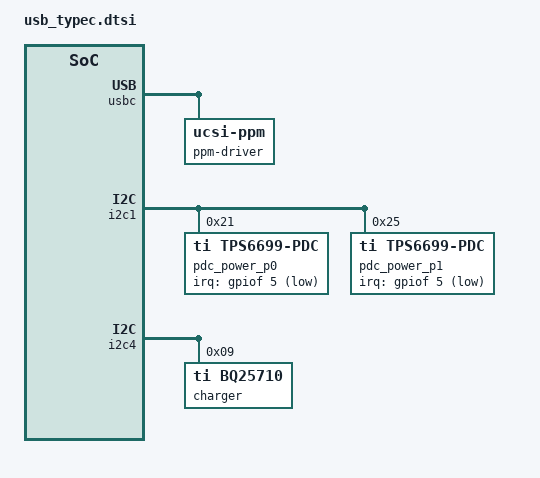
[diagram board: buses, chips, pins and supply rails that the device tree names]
/* Copyright 2025 The ChromiumOS Authors
 * Use of this source code is governed by a BSD-style license that can be
 * found in the LICENSE file.
 */

#include <usbc-policy.dtsi>

/ {
	usbc {
		#address-cells = <1>;
		#size-cells = <0>;

		usbc_port0: port0@0 {
			compatible = "named-usbc-port";
			reg = <0>;
			chg = <&charger>;
			pdc = <&pdc_power_p0>;
			pd-retimer;
			policy = <&cros_policy>;
		};
		usbc_port1: port1@1 {
			compatible = "named-usbc-port";
			reg = <1>;
			pdc = <&pdc_power_p1>;
			pd-retimer;
			policy = <&cros_policy>;
		};
		ppm-driver {
			compatible = "ucsi-ppm";
		};
	};
};

&i2c1 {
	pdc_power_p0: tps6699-pdc@21 {
		compatible = "ti,tps6699-pdc";
		reg = <0x21>;
		irq-gpios = <&gpiof 5 GPIO_ACTIVE_LOW>;
	};
	pdc_power_p1: tps6699-pdc@25 {
		compatible = "ti,tps6699-pdc";
		reg = <0x25>;
		irq-gpios = <&gpiof 5 GPIO_ACTIVE_LOW>;
		no-fw-update;
	};
};

&i2c4 {
	charger: bq25710@9 {
		compatible = "ti,bq25710";
		status = "okay";
		reg = <0x9>;
	};
};
